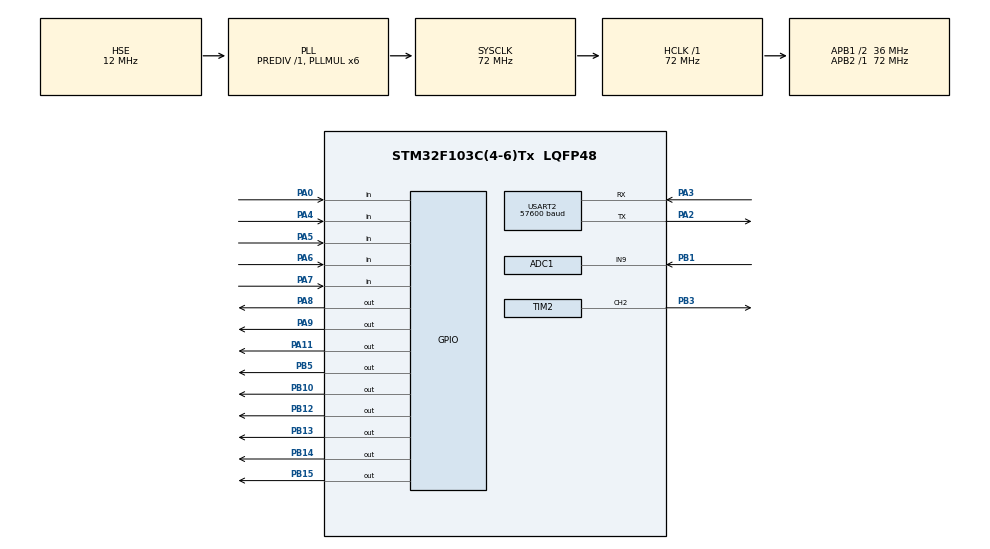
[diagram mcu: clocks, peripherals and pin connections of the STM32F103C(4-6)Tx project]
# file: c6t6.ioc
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ADC1.Channel-0\#ChannelRegularConversion=ADC_CHANNEL_9
ADC1.ContinuousConvMode=ENABLE
ADC1.NbrOfConversionFlag=1
ADC1.Rank-0\#ChannelRegularConversion=1
ADC1.SamplingTime-0\#ChannelRegularConversion=ADC_SAMPLETIME_239CYCLES_5
ADC1.master=1
Dma.ADC1.0.Direction=DMA_PERIPH_TO_MEMORY
Dma.ADC1.0.Instance=DMA1_Channel1
Dma.ADC1.0.MemDataAlignment=DMA_MDATAALIGN_WORD
Dma.ADC1.0.MemInc=DMA_MINC_ENABLE
Dma.ADC1.0.Mode=DMA_CIRCULAR
Dma.ADC1.0.PeriphDataAlignment=DMA_PDATAALIGN_WORD
Dma.ADC1.0.PeriphInc=DMA_PINC_DISABLE
Dma.ADC1.0.Priority=DMA_PRIORITY_LOW
Dma.Request0=ADC1
Dma.Request1=USART2_RX
Dma.Request2=USART2_TX
Dma.USART2_RX.1.Direction=DMA_PERIPH_TO_MEMORY
Dma.USART2_RX.1.Instance=DMA1_Channel6
Dma.USART2_RX.1.MemDataAlignment=DMA_MDATAALIGN_BYTE
Dma.USART2_RX.1.MemInc=DMA_MINC_ENABLE
Dma.USART2_RX.1.Mode=DMA_NORMAL
Dma.USART2_RX.1.PeriphDataAlignment=DMA_PDATAALIGN_BYTE
Dma.USART2_RX.1.PeriphInc=DMA_PINC_DISABLE
Dma.USART2_RX.1.Priority=DMA_PRIORITY_LOW
Dma.USART2_TX.2.Direction=DMA_MEMORY_TO_PERIPH
Dma.USART2_TX.2.Instance=DMA1_Channel7
Dma.USART2_TX.2.MemDataAlignment=DMA_MDATAALIGN_BYTE
Dma.USART2_TX.2.MemInc=DMA_MINC_ENABLE
Dma.USART2_TX.2.Mode=DMA_NORMAL
Dma.USART2_TX.2.PeriphDataAlignment=DMA_PDATAALIGN_BYTE
Dma.USART2_TX.2.PeriphInc=DMA_PINC_DISABLE
Dma.USART2_TX.2.Priority=DMA_PRIORITY_LOW
Mcu.Family=STM32F1
Mcu.Name=STM32F103C(4-6)Tx
Mcu.Package=LQFP48
NVIC.DMA1_Channel1_IRQn=true\:6\:0\:true\:false\:true\:false\:true\:true
NVIC.DMA1_Channel6_IRQn=true\:6\:0\:true\:false\:true\:false\:true\:true
NVIC.DMA1_Channel7_IRQn=true\:6\:0\:true\:false\:true\:false\:true\:true
NVIC.PriorityGroup=NVIC_PRIORITYGROUP_4
NVIC.TIM1_UP_IRQn=true\:6\:0\:true\:false\:true\:true\:true\:true
NVIC.TIM3_IRQn=true\:6\:0\:true\:false\:true\:true\:true\:true
NVIC.USART2_IRQn=true\:6\:0\:true\:false\:true\:true\:true\:true
PA0-WKUP.GPIO_PuPd=GPIO_PULLDOWN
PA0-WKUP.Signal=GPIO_Input
PA11.GPIO_PuPd=GPIO_PULLDOWN
PA11.Signal=GPIO_Output
PA13.Mode=Serial_Wire
PA13.Signal=SYS_JTMS-SWDIO
PA14.Mode=Serial_Wire
PA14.Signal=SYS_JTCK-SWCLK
PA2.Mode=Asynchronous
PA2.Signal=USART2_TX
PA3.Mode=Asynchronous
PA3.Signal=USART2_RX
PA4.GPIO_PuPd=GPIO_PULLDOWN
PA4.Signal=GPIO_Input
PA5.GPIO_PuPd=GPIO_PULLDOWN
PA5.Signal=GPIO_Input
PA6.GPIO_PuPd=GPIO_PULLDOWN
PA6.Signal=GPIO_Input
PA7.GPIO_PuPd=GPIO_PULLDOWN
PA7.Signal=GPIO_Input
PA8.Signal=GPIO_Output
PA9.Signal=GPIO_Output
PB1.Signal=ADCx_IN9
PB10.GPIO_PuPd=GPIO_PULLUP
PB10.Signal=GPIO_Output
PB12.Signal=GPIO_Output
PB13.Signal=GPIO_Output
PB14.Signal=GPIO_Output
PB15.Signal=GPIO_Output
PB3.Signal=S_TIM2_CH2
PB5.GPIO_PuPd=GPIO_PULLDOWN
PB5.Signal=GPIO_Output
PD0-OSC_IN.Mode=HSE-External-Oscillator
PD0-OSC_IN.Signal=RCC_OSC_IN
PD1-OSC_OUT.Mode=HSE-External-Oscillator
PD1-OSC_OUT.Signal=RCC_OSC_OUT
ProjectManager.HeapSize=0x200
ProjectManager.StackSize=0x400
ProjectManager.TargetToolchain=MDK-ARM V5.32
RCC.ADCPresc=RCC_ADCPCLK2_DIV6
RCC.AHBFreq_Value=72000000
RCC.APB1CLKDivider=RCC_HCLK_DIV2
RCC.APB1Freq_Value=36000000
RCC.APB1TimFreq_Value=72000000
RCC.APB2Freq_Value=72000000
RCC.APB2TimFreq_Value=72000000
RCC.HCLKFreq_Value=72000000
RCC.HSE_VALUE=12000000
RCC.PLLMUL=RCC_PLL_MUL6
RCC.PLLSourceVirtual=RCC_PLLSOURCE_HSE
RCC.SYSCLKFreq_VALUE=72000000
RCC.SYSCLKSource=RCC_SYSCLKSOURCE_PLLCLK
RCC.USBFreq_Value=72000000
SH.ADCx_IN9.0=ADC1_IN9,IN9
SH.S_TIM2_CH2.0=TIM2_CH2,PWM Generation2 CH2
TIM1.AutoReloadPreload=TIM_AUTORELOAD_PRELOAD_ENABLE
TIM1.Period=719
TIM1.Prescaler=999
TIM2.AutoReloadPreload=TIM_AUTORELOAD_PRELOAD_ENABLE
TIM2.Channel-PWM\ Generation2\ CH2=TIM_CHANNEL_2
TIM2.Period=1439
TIM2.Prescaler=999
TIM3.AutoReloadPreload=TIM_AUTORELOAD_PRELOAD_ENABLE
TIM3.Period=7199
TIM3.Prescaler=999
USART2.BaudRate=57600
USART2.StopBits=STOPBITS_2
USART2.VirtualMode=VM_ASYNC
VP_TIM1_VS_ClockSourceINT.Mode=Internal
VP_TIM2_VS_ClockSourceINT.Mode=Internal
VP_TIM3_VS_ClockSourceINT.Mode=Internal
board=custom

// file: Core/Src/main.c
/* USER CODE BEGIN Header */
/**
  ******************************************************************************
  * @file           : main.c
  * @brief          : Main program body
  ******************************************************************************
  * @attention
  *
  * <h2><center>&copy; Copyright (c) 2021 STMicroelectronics.
  * All rights reserved.</center></h2>
  *
  * This software component is licensed by ST under BSD 3-Clause license,
  * the "License"; You may not use this file except in compliance with the
  * License. You may obtain a copy of the License at:
  *                        opensource.org/licenses/BSD-3-Clause
  *
  ******************************************************************************
  */
/* USER CODE END Header */
#include "main.h"
#include "adc.h"
#include "dma.h"
#include "tim.h"
#include "usart.h"
#include "gpio.h"

/* USER CODE BEGIN Includes */
#include "print_mode.h"
#include "motor_control.h"
#include "standby_mode.h"
#include "oled4p.h"
#include "keys_4x4.h"
#include "flash.h"

/* USER CODE END Includes */

/* USER CODE BEGIN PTD */
uint8_t Unlocked = 0;
/* USER CODE END PTD */

void SystemClock_Config(void);
/* USER CODE BEGIN PFP */
void HAL_TIM_PeriodElapsedCallback(TIM_HandleTypeDef *htim)
{
	if(htim==&htim1)
	{
		if(Compare_expected>Compare_now)
			Compare_now++;
		else if(Compare_expected<Compare_now)
			Compare_now--;
		__HAL_TIM_SET_COMPARE(&motor_tim,motor_channel,Compare_now);
	}
	if(htim==&htim3)
	{
		keys_scan();
	}
}
/* USER CODE END PFP */

int main(void)
{
  /* USER CODE BEGIN 1 */
	int i;
  /* USER CODE END 1 */

  /* MCU Configuration--------------------------------------------------------*/

  /* Reset of all peripherals, Initializes the Flash interface and the Systick. */
  HAL_Init();

  /* Configure the system clock */
  SystemClock_Config();

  /* Initialize all configured peripherals */
  MX_GPIO_Init();
  MX_DMA_Init();
  MX_ADC1_Init();
  MX_USART2_UART_Init();
  MX_TIM1_Init();
  MX_TIM2_Init();
  MX_TIM3_Init();
  /* USER CODE BEGIN 2 */
	print_mode_init();
	HAL_ADCEx_Calibration_Start(&hadc1);
	HAL_ADC_Start_DMA(&hadc1,electric_quantity,10);
	Compare_now=Compare_expected=lock_compare;
	HAL_TIM_Base_Start_IT(&htim3);
	HAL_TIM_Base_Start_IT(&htim1);
		power_on();

	OLED_Init();
	OLED_Init();
	count_down=5;
	uint32_t data[4];
	if(ReadFlash(SN)==0x66669999)
	{
		uint16_t compare1,compare2;
		data[0]=ReadFlash(SN+4);
		data[1]=ReadFlash(SN+8);
		data[2]=ReadFlash(SN+12);
		data[3]=ReadFlash(SN+16);
		if(data[3]==0x11111111)
			Unlocked=1;
		for(i=0;i<8;i++)
			Save[i+4]=password[i]=data[i/4]>>(24-i%4*8);
		for(i=0;i<4;i++)
		{
			if(password[i*2]=='F'&& password[i*2+1]=='F')
			{
				Print_ID_[i]=0xFF;
			}
			else if(password[i*2]=='F')
				Print_ID_[i]=0xF0+(password[i*2+1]-'0');
			else if(password[i*2+1]=='F')
				Print_ID_[i]=(password[i*2]-'0')*16+0x0F;
			else
				Print_ID_[i]=(password[i*2]-'0')*16+(password[i*2+1]-'0');
		}
		for(i=0;i<4;i++)
			Save[i+12]=data[2]>>(24-i%4*8);
		compare1=((uint16_t)Save[12]<<8)+(uint16_t)Save[13];
		compare2=((uint16_t)Save[14]<<8)+(uint16_t)Save[15];
		if(compare1>35&&compare1<181)
			Compare_now=lock_compare=compare1;
		if(compare2>35&&compare2<181)
			unlock_compare=compare2;
	}
	i=0;

	while(electric_quantity[9]==0)
	{
		HAL_Delay(1);
	}
	HAL_ADC_Stop_DMA(&hadc1);

  /* USER CODE END 2 */

  /* Infinite loop */
  /* USER CODE BEGIN WHILE */

  while (1)
  {

//		SET_ID(0xff,0xff,0xff,0xff);
//		HAL_Delay(1000);
//		reply_buf.pkg_size=0;
//						Send_CMD(&print_uart,CMD_ValidTempleteNum,0x00);
//						HAL_Delay(100);
//						if(reply_buf.pkg_size==0x0005&&reply_buf.cmd==0x00)
//						{
//							print_max_id=((uint16_t)reply_buf.parameter[0]<<8)+reply_buf.parameter[1];
//							OLED_ShowCHinese(8,2,5);
//							OLED_ShowCHinese(24,2,33);
//							OLED_ShowCHinese(40,2,66);
//							OLED_ShowCHinese(56,2,42);
//							OLED_ShowNum(9,1,print_max_id,3);
//						}
//						else
//						{
//							OLED_ShowCHinese(32,3,64);
//							OLED_ShowCHinese(48,3,65);
//							OLED_ShowCHinese(64,3,10);
//							OLED_ShowCHinese(80,3,11);
//						}
//						HAL_Delay(2000);
//						while(1);//
		OLED_ShowBattery();
		print_fun();
		keys_start();
		count_down--;
		if(count_down==0)
		{
			count_down=5;
			oled_standby_enter();
			HAL_Delay(500);
			power_off();
		}

    /* USER CODE END WHILE */

  }
}

void SystemClock_Config(void)
{
  RCC_OscInitTypeDef RCC_OscInitStruct = {0};
  RCC_ClkInitTypeDef RCC_ClkInitStruct = {0};
  RCC_PeriphCLKInitTypeDef PeriphClkInit = {0};

  /** Initializes the RCC Oscillators according to the specified parameters
  * in the RCC_OscInitTypeDef structure.
  */
  RCC_OscInitStruct.OscillatorType = RCC_OSCILLATORTYPE_HSE;
  RCC_OscInitStruct.HSEState = RCC_HSE_ON;
  RCC_OscInitStruct.HSEPredivValue = RCC_HSE_PREDIV_DIV1;
  RCC_OscInitStruct.HSIState = RCC_HSI_ON;
  RCC_OscInitStruct.PLL.PLLState = RCC_PLL_ON;
  RCC_OscInitStruct.PLL.PLLSource = RCC_PLLSOURCE_HSE;
  RCC_OscInitStruct.PLL.PLLMUL = RCC_PLL_MUL6;
  if (HAL_RCC_OscConfig(&RCC_OscInitStruct) != HAL_OK)
  {
    Error_Handler();
  }
  /** Initializes the CPU, AHB and APB buses clocks
  */
  RCC_ClkInitStruct.ClockType = RCC_CLOCKTYPE_HCLK|RCC_CLOCKTYPE_SYSCLK
                              |RCC_CLOCKTYPE_PCLK1|RCC_CLOCKTYPE_PCLK2;
  RCC_ClkInitStruct.SYSCLKSource = RCC_SYSCLKSOURCE_PLLCLK;
  RCC_ClkInitStruct.AHBCLKDivider = RCC_SYSCLK_DIV1;
  RCC_ClkInitStruct.APB1CLKDivider = RCC_HCLK_DIV2;
  RCC_ClkInitStruct.APB2CLKDivider = RCC_HCLK_DIV1;

  if (HAL_RCC_ClockConfig(&RCC_ClkInitStruct, FLASH_LATENCY_2) != HAL_OK)
  {
    Error_Handler();
  }
  PeriphClkInit.PeriphClockSelection = RCC_PERIPHCLK_ADC;
  PeriphClkInit.AdcClockSelection = RCC_ADCPCLK2_DIV6;
  if (HAL_RCCEx_PeriphCLKConfig(&PeriphClkInit) != HAL_OK)
  {
    Error_Handler();
  }
}

void Error_Handler(void)
{
  __disable_irq();
  while (1)
  {
  }
}

/************************ (C) COPYRIGHT STMicroelectronics *****END OF FILE****/
